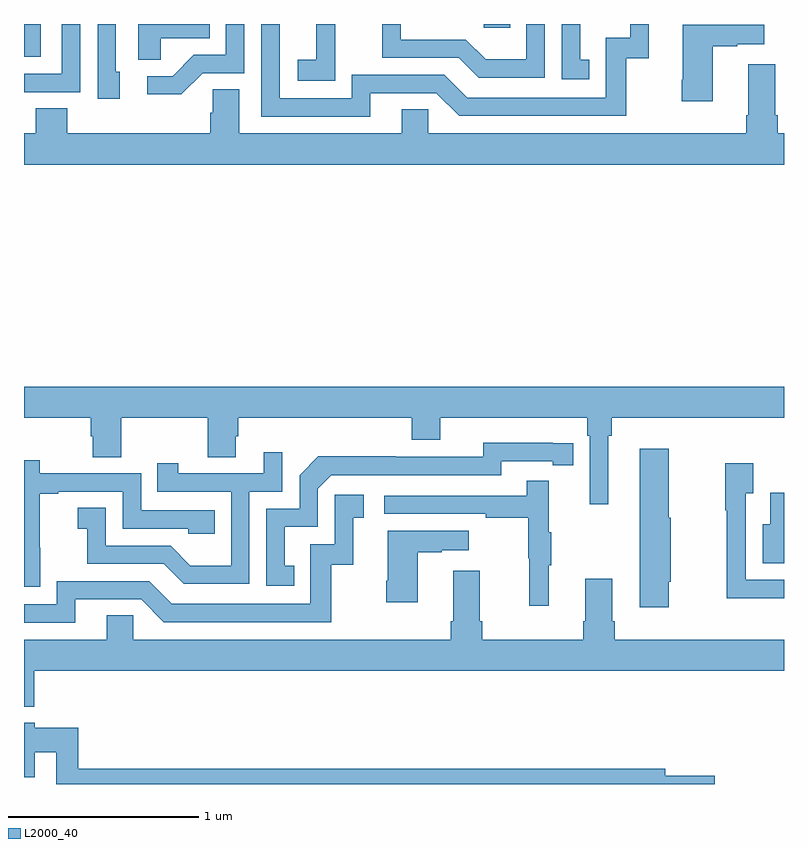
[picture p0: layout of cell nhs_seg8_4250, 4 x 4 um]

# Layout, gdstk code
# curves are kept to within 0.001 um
import gdstk
lib = gdstk.Library(unit=1e-6, precision=1e-09)
def R(c, l, rs):  # rectangles x0, y0, x1, y1
    for r in rs: c.add(gdstk.rectangle(r[:2], r[2:], *l))
def P(c, l, *ps):  # polygons
    for p in ps: c.add(gdstk.Polygon(p, *l))
L2000_40 = (2000, 40)

nhs_seg8_4250 = lib.new_cell('nhs_seg8_4250')
R(nhs_seg8_4250, L2000_40, [(371,1123.727,371.089,1123.9), (373.419,1123.881,373.559,1123.9)])
P(nhs_seg8_4250, L2000_40, [(371.94,1123.641),(372.159,1123.641),(372.159,1123.9),(372.063,1123.9),(372.063,1123.737),(371.894,1123.737),(371.783,1123.626),(371.649,1123.626),(371.649,1123.529),(371.827,1123.529)],
  [(373.976,1123.713),(373.927,1123.713),(373.927,1123.9),(373.83,1123.9),(373.83,1123.608),(373.976,1123.608)],
  [(372.639,1123.807),(372.638,1123.807),(372.638,1123.9),(372.539,1123.9),(372.539,1123.711),(372.441,1123.711),(372.441,1123.601),(372.639,1123.601)],
  [(372.823,1123.536),(373.17,1123.536),(373.29,1123.416),(374.17,1123.416),(374.17,1123.719),(374.288,1123.719),(374.288,1123.9),(374.19,1123.9),(374.19,1123.827),(374.061,1123.827),(374.061,1123.512),(373.332,1123.512),(373.212,1123.632),(372.726,1123.632),(372.726,1123.509),(372.345,1123.509),(372.345,1123.9),(372.249,1123.9),(372.249,1123.413),(372.823,1123.413)],
  [(371.503,1123.65),(371.484,1123.65),(371.484,1123.9),(371.388,1123.9),(371.388,1123.506),(371.503,1123.506)],
  [(373.74,1123.9),(373.644,1123.9),(373.644,1123.714),(373.43,1123.714),(373.326,1123.818),(372.984,1123.818),(372.984,1123.9),(372.886,1123.9),(372.886,1123.722),(373.289,1123.722),(373.394,1123.617),(373.74,1123.617)],
  [(371.295,1123.9),(371.199,1123.9),(371.199,1123.638),(371,1123.638),(371,1123.542),(371.295,1123.542)],
  [(371.721,1123.826),(371.978,1123.826),(371.978,1123.9),(371.6,1123.9),(371.6,1123.711),(371.721,1123.711)],
  [(374.626,1123.783),(374.753,1123.783),(374.753,1123.793),(374.896,1123.793),(374.896,1123.897),(374.468,1123.897),(374.468,1123.606),(374.461,1123.606),(374.461,1123.494),(374.626,1123.494)],
  [(375,1123.324),(374.966,1123.324),(374.966,1123.42),(374.953,1123.42),(374.953,1123.687),(374.813,1123.687),(374.813,1123.42),(374.801,1123.42),(374.801,1123.324),(373.128,1123.324),(373.128,1123.451),(372.989,1123.451),(372.989,1123.324),(372.133,1123.324),(372.133,1123.556),(371.994,1123.556),(371.994,1123.433),(371.981,1123.433),(371.981,1123.324),(371.228,1123.324),(371.228,1123.457),(371.063,1123.457),(371.063,1123.324),(371,1123.324),(371,1123.16),(375,1123.16)],
  [(374.074,1121.732),(374.093,1121.732),(374.093,1121.828),(375,1121.828),(375,1121.992),(371,1121.992),(371,1121.828),(371.351,1121.828),(371.351,1121.73),(371.363,1121.73),(371.363,1121.62),(371.511,1121.62),(371.511,1121.828),(371.968,1121.828),(371.968,1121.62),(372.115,1121.62),(372.115,1121.73),(372.128,1121.73),(372.128,1121.828),(373.04,1121.828),(373.04,1121.711),(373.192,1121.711),(373.192,1121.828),(373.964,1121.828),(373.964,1121.732),(373.977,1121.732),(373.977,1121.373),(374.074,1121.373)],
  [(372.422,1121.049),(372.373,1121.049),(372.373,1121.253),(372.546,1121.253),(372.546,1121.454),(372.618,1121.526),(373.512,1121.526),(373.512,1121.598),(373.784,1121.598),(373.784,1121.578),(373.892,1121.578),(373.892,1121.694),(373.416,1121.695),(373.416,1121.622),(372.956,1121.622),(372.956,1121.624),(372.548,1121.624),(372.45,1121.526),(372.45,1121.349),(372.276,1121.349),(372.276,1120.944),(372.422,1120.944)],
  [(374.394,1120.965),(374.404,1120.965),(374.404,1121.301),(374.394,1121.301),(374.394,1121.665),(374.24,1121.665),(374.24,1120.83),(374.394,1120.83)],
  [(372.186,1121.439),(372.36,1121.439),(372.36,1121.647),(372.263,1121.647),(372.263,1121.535),(371.812,1121.535),(371.812,1121.587),(371.701,1121.587),(371.701,1121.439),(372.09,1121.439),(372.09,1121.05),(371.876,1121.05),(371.772,1121.154),(371.43,1121.154),(371.43,1121.353),(371.283,1121.353),(371.283,1121.243),(371.332,1121.243),(371.332,1121.058),(371.735,1121.058),(371.84,1120.953),(372.186,1120.953)],
  [(371.085,1121.143),(371.084,1121.143),(371.084,1121.427),(371.179,1121.427),(371.179,1121.439),(371.52,1121.439),(371.52,1121.244),(371.865,1121.244),(371.865,1121.217),(372.005,1121.217),(372.005,1121.34),(371.616,1121.34),(371.616,1121.535),(371.082,1121.535),(371.082,1121.604),(371,1121.604),(371,1120.937),(371.085,1120.937)],
  [(374.975,1120.878),(375,1120.878),(375,1120.974),(374.799,1120.974),(374.799,1121.431),(374.839,1121.431),(374.839,1121.587),(374.691,1121.587),(374.691,1121.342),(374.698,1121.342),(374.698,1120.877),(374.975,1120.877)],
  [(373.763,1121.051),(373.774,1121.051),(373.774,1121.225),(373.763,1121.225),(373.763,1121.497),(373.645,1121.497),(373.645,1121.418),(372.897,1121.418),(372.897,1121.322),(373.429,1121.322),(373.429,1121.302),(373.653,1121.302),(373.653,1121.088),(373.66,1121.088),(373.66,1120.839),(373.763,1120.839)],
  [(375,1121.434),(374.927,1121.434),(374.927,1121.266),(374.888,1121.266),(374.888,1121.063),(375,1121.063)],
  [(371.269,1120.872),(371.616,1120.872),(371.736,1120.752),(372.616,1120.752),(372.616,1121.055),(372.734,1121.055),(372.734,1121.301),(372.787,1121.301),(372.787,1121.422),(372.636,1121.422),(372.636,1121.163),(372.507,1121.163),(372.507,1120.848),(371.778,1120.848),(371.658,1120.968),(371.172,1120.968),(371.172,1120.845),(371,1120.845),(371,1120.749),(371.269,1120.749)],
  [(373.072,1121.119),(373.199,1121.119),(373.199,1121.129),(373.342,1121.129),(373.342,1121.233),(372.914,1121.233),(372.914,1120.969),(372.907,1120.969),(372.907,1120.857),(373.072,1120.857)],
  [(371.054,1120.496),(375,1120.496),(375,1120.66),(374.108,1120.66),(374.108,1120.756),(374.095,1120.756),(374.095,1120.981),(373.955,1120.981),(373.955,1120.756),(373.943,1120.756),(373.943,1120.66),(373.412,1120.66),(373.412,1120.756),(373.399,1120.756),(373.399,1121.023),(373.259,1121.023),(373.259,1120.756),(373.247,1120.756),(373.247,1120.66),(371.574,1120.66),(371.574,1120.787),(371.435,1120.787),(371.435,1120.66),(371,1120.66),(371,1120.307),(371.054,1120.307)],
  [(374.635,1119.944),(374.374,1119.944),(374.374,1119.98),(371.285,1119.98),(371.285,1120.195),(371.056,1120.195),(371.056,1120.222),(371,1120.222),(371,1119.936),(371.056,1119.936),(371.056,1120.066),(371.169,1120.066),(371.169,1119.9),(374.635,1119.9)])

lib.write_gds('nhs_seg8_4250.gds')
